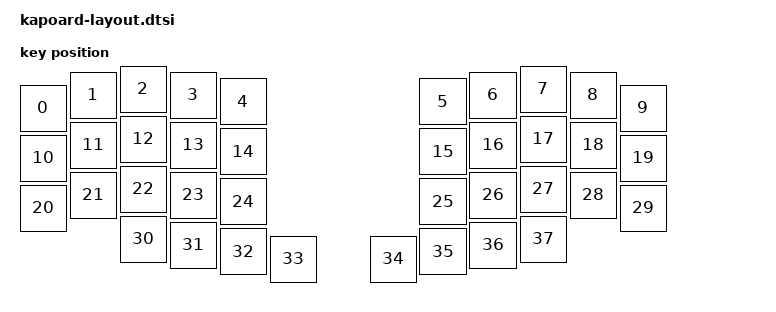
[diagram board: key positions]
#include <physical_layouts.dtsi>

/ {
    physical_layout0: physical_layout_0 {
        compatible = "zmk,physical-layout";
        display-name = "kapoard";

        kscan = <&kscan0>;
        transform = <&keymap_transform0>;

        keys  //                     w   h    x    y     rot    rx    ry
            = <&key_physical_attrs 100 100    0   38       0     0     0>
            , <&key_physical_attrs 100 100  100   12       0     0     0>
            , <&key_physical_attrs 100 100  200    0       0     0     0>
            , <&key_physical_attrs 100 100  300   12       0     0     0>
            , <&key_physical_attrs 100 100  400   25       0     0     0>
            , <&key_physical_attrs 100 100  800   25       0     0     0>
            , <&key_physical_attrs 100 100  900   12       0     0     0>
            , <&key_physical_attrs 100 100 1000    0       0     0     0>
            , <&key_physical_attrs 100 100 1100   12       0     0     0>
            , <&key_physical_attrs 100 100 1200   38       0     0     0>
            , <&key_physical_attrs 100 100    0  138       0     0     0>
            , <&key_physical_attrs 100 100  100  112       0     0     0>
            , <&key_physical_attrs 100 100  200  100       0     0     0>
            , <&key_physical_attrs 100 100  300  112       0     0     0>
            , <&key_physical_attrs 100 100  400  125       0     0     0>
            , <&key_physical_attrs 100 100  800  125       0     0     0>
            , <&key_physical_attrs 100 100  900  112       0     0     0>
            , <&key_physical_attrs 100 100 1000  100       0     0     0>
            , <&key_physical_attrs 100 100 1100  112       0     0     0>
            , <&key_physical_attrs 100 100 1200  138       0     0     0>
            , <&key_physical_attrs 100 100    0  238       0     0     0>
            , <&key_physical_attrs 100 100  100  212       0     0     0>
            , <&key_physical_attrs 100 100  200  200       0     0     0>
            , <&key_physical_attrs 100 100  300  212       0     0     0>
            , <&key_physical_attrs 100 100  400  225       0     0     0>
            , <&key_physical_attrs 100 100  800  225       0     0     0>
            , <&key_physical_attrs 100 100  900  212       0     0     0>
            , <&key_physical_attrs 100 100 1000  200       0     0     0>
            , <&key_physical_attrs 100 100 1100  212       0     0     0>
            , <&key_physical_attrs 100 100 1200  238       0     0     0>
            , <&key_physical_attrs 100 100  200  300       0     0     0>
            , <&key_physical_attrs 100 100  300  312       0     0     0>
            , <&key_physical_attrs 100 100  400  325       0     0     0>
            , <&key_physical_attrs 100 100  500  340       0     0     0>
            , <&key_physical_attrs 100 100  700  340       0     0     0>
            , <&key_physical_attrs 100 100  800  325       0     0     0>
            , <&key_physical_attrs 100 100  900  312       0     0     0>
            , <&key_physical_attrs 100 100 1000  300       0     0     0>
            ;
    };
};
